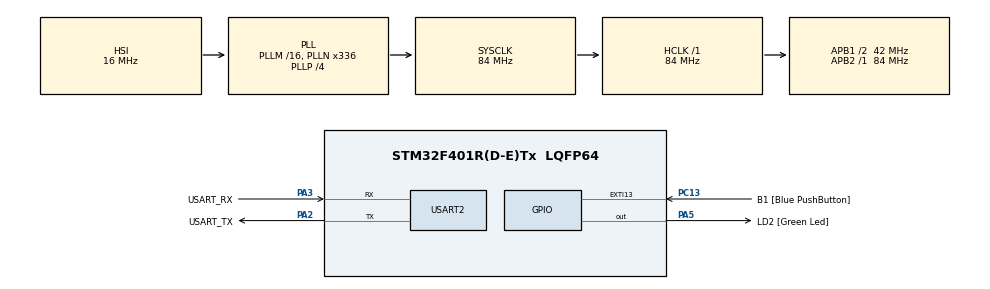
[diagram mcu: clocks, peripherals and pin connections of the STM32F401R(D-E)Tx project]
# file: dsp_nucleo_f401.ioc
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Mcu.Family=STM32F4
Mcu.Name=STM32F401R(D-E)Tx
Mcu.Package=LQFP64
NVIC.PriorityGroup=NVIC_PRIORITYGROUP_4
PA13.GPIO_Label=TMS
PA13.Mode=Trace_Asynchronous_SW
PA13.Signal=SYS_JTMS-SWDIO
PA14.GPIO_Label=TCK
PA14.Mode=Trace_Asynchronous_SW
PA14.Signal=SYS_JTCK-SWCLK
PA2.GPIO_Label=USART_TX
PA2.GPIO_Mode=GPIO_MODE_AF_PP
PA2.GPIO_PuPd=GPIO_NOPULL
PA2.GPIO_Speed=GPIO_SPEED_FREQ_LOW
PA2.Mode=Asynchronous
PA2.Signal=USART2_TX
PA3.GPIO_Label=USART_RX
PA3.GPIO_Mode=GPIO_MODE_AF_PP
PA3.GPIO_PuPd=GPIO_NOPULL
PA3.GPIO_Speed=GPIO_SPEED_FREQ_LOW
PA3.Mode=Asynchronous
PA3.Signal=USART2_RX
PA5.GPIO_Label=LD2 [Green Led]
PA5.GPIO_Mode=GPIO_MODE_OUTPUT_PP
PA5.GPIO_PuPd=GPIO_NOPULL
PA5.GPIO_Speed=GPIO_SPEED_FREQ_LOW
PA5.Signal=GPIO_Output
PB3.GPIO_Label=SWO
PB3.Mode=Trace_Asynchronous_SW
PB3.Signal=SYS_JTDO-SWO
PC13-ANTI_TAMP.GPIO_Label=B1 [Blue PushButton]
PC13-ANTI_TAMP.GPIO_ModeDefaultEXTI=GPIO_MODE_IT_FALLING
PC13-ANTI_TAMP.GPIO_PuPd=GPIO_NOPULL
PC13-ANTI_TAMP.Signal=GPXTI13
PC14-OSC32_IN.Mode=LSE-External-Oscillator
PC14-OSC32_IN.Signal=RCC_OSC32_IN
PC15-OSC32_OUT.Mode=LSE-External-Oscillator
PC15-OSC32_OUT.Signal=RCC_OSC32_OUT
PH0\ -\ OSC_IN.Mode=HSE-External-Clock-Source
PH0\ -\ OSC_IN.Signal=RCC_OSC_IN
PH1\ -\ OSC_OUT.Mode=HSE-External-Clock-Source
PH1\ -\ OSC_OUT.Signal=RCC_OSC_OUT
ProjectManager.HeapSize=0x200
ProjectManager.StackSize=0x400
ProjectManager.TargetToolchain=CMake
RCC.48MHZClocksFreq_Value=48000000
RCC.AHBFreq_Value=84000000
RCC.APB1CLKDivider=RCC_HCLK_DIV2
RCC.APB1Freq_Value=42000000
RCC.APB1TimFreq_Value=84000000
RCC.APB2Freq_Value=84000000
RCC.APB2TimFreq_Value=84000000
RCC.CortexFreq_Value=84000000
RCC.HCLKFreq_Value=84000000
RCC.HSE_VALUE=8000000
RCC.HSI_VALUE=16000000
RCC.PLLN=336
RCC.PLLP=RCC_PLLP_DIV4
RCC.PLLQ=7
RCC.SYSCLKFreq_VALUE=84000000
RCC.SYSCLKSource=RCC_SYSCLKSOURCE_PLLCLK
RCC.VCOOutputFreq_Value=336000000
USART2.VirtualMode=VM_ASYNC
board=NUCLEO-F401RE

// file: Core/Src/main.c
/* USER CODE BEGIN Header */
/**
  ******************************************************************************
  * @file           : main.c
  * @brief          : Main program body
  ******************************************************************************
  * @attention
  *
  * Copyright (c) 2025 STMicroelectronics.
  * All rights reserved.
  *
  * This software is licensed under terms that can be found in the LICENSE file
  * in the root directory of this software component.
  * If no LICENSE file comes with this software, it is provided AS-IS.
  *
  ******************************************************************************
  */
/* USER CODE END Header */
#include "main.h"

/* USER CODE BEGIN Includes */
#include <signals.h>
#include <stdint.h>
#include <stdio.h>
#include "arm_math.h"
/* USER CODE END Includes */

/* USER CODE BEGIN PTD */
extern float32_t _640_points_ecg_[];
extern float32_t  impulse_response[];
extern float32_t _5hz_signal[];
extern float32_t inputSignal_f32_1kHz_15kHz[];

float32_t output_convolution_arr[KHZ1_15_SIG_LEN + IMP_RESP_LENGTH -1];
float32_t output_running_sum[KHZ1_15_SIG_LEN];
float32_t output_first_difference[KHZ1_15_SIG_LEN];
/* USER CODE END PTD */

UART_HandleTypeDef huart2;

void SystemClock_Config(void);
static void MX_GPIO_Init(void);
static void MX_USART2_UART_Init(void);

/* USER CODE BEGIN 0 */
  float32_t ak=0,bk=0;
/* USER CODE END 0 */

int main(void)
{

  /* MCU Configuration--------------------------------------------------------*/

  /* Reset of all peripherals, Initializes the Flash interface and the Systick. */
  HAL_Init();

  /* Configure the system clock */
  SystemClock_Config();

  /* Initialize all configured peripherals */
  MX_GPIO_Init();
  MX_USART2_UART_Init();
  /* USER CODE BEGIN 2 */

  //enable FPU
  SCB->CPACR |= (3UL<< 10*2) | (3UL<<11*2); //set 23-20 bits of FPU coprocessor

  //MEAN, VARIANCE AND STANDARD DEVIATION
  // ak=signal_mean(inputSignal_f32_1kHz_15kHz,KHZ1_15_SIG_LEN);
  // ak=signal_variance(inputSignal_f32_1kHz_15kHz,ak,KHZ1_15_SIG_LEN);
  // ak=signal_standard_deviation(ak);
  // //ARM DSP library to find the standard deviation value. This is much faster than by calculating the it manually shown above
  // arm_std_f32(inputSignal_f32_1kHz_15kHz,KHZ1_15_SIG_LEN,&bk);

  //CONVOLUTION
  //the convoluted output is a signal where the resultant signal is a signal which filters the 15KHz components from the input signal and outputs only the 1KHz
  //the convolution along with  the impulse response filters the 15KHz from the input as it has a cutoff frequency of 6KHz
  //convolution((float32_t*) inputSignal_f32_1kHz_15kHz,(float32_t*) output_convolution_arr,(float32_t*) impulse_response, (uint32_t) KHZ1_15_SIG_LEN, (uint32_t) IMP_RESP_LENGTH);

  // float32_t time1=SysTick->VAL;
  // arm_conv_f32((float32_t*) inputSignal_f32_1kHz_15kHz,KHZ1_15_SIG_LEN,impulse_response,IMP_RESP_LENGTH,output_convolution_arr);
  //  float32_t time2 = (float32_t)(time1-SysTick->VAL)/((float32_t)SystemCoreClock/1000); //in milliseconds

  calc_running_sum(inputSignal_f32_1kHz_15kHz,output_running_sum , KHZ1_15_SIG_LEN);
  calc_first_difference(inputSignal_f32_1kHz_15kHz,output_first_difference , KHZ1_15_SIG_LEN);
  //plot_runningsum_firstdifference();
    /* USER CODE END 2 */

  /* Infinite loop */
  /* USER CODE BEGIN WHILE */
  while (1)
  {

    plot_runningsum_firstdifference();

   //plot_input_signal();

   // convolution_print_all_signals();

    /* USER CODE END WHILE */

  }
}

void SystemClock_Config(void)
{
  RCC_OscInitTypeDef RCC_OscInitStruct = {0};
  RCC_ClkInitTypeDef RCC_ClkInitStruct = {0};

  /** Configure the main internal regulator output voltage
  */
  __HAL_RCC_PWR_CLK_ENABLE();
  __HAL_PWR_VOLTAGESCALING_CONFIG(PWR_REGULATOR_VOLTAGE_SCALE2);

  /** Initializes the RCC Oscillators according to the specified parameters
  * in the RCC_OscInitTypeDef structure.
  */
  RCC_OscInitStruct.OscillatorType = RCC_OSCILLATORTYPE_HSI;
  RCC_OscInitStruct.HSIState = RCC_HSI_ON;
  RCC_OscInitStruct.HSICalibrationValue = RCC_HSICALIBRATION_DEFAULT;
  RCC_OscInitStruct.PLL.PLLState = RCC_PLL_ON;
  RCC_OscInitStruct.PLL.PLLSource = RCC_PLLSOURCE_HSI;
  RCC_OscInitStruct.PLL.PLLM = 16;
  RCC_OscInitStruct.PLL.PLLN = 336;
  RCC_OscInitStruct.PLL.PLLP = RCC_PLLP_DIV4;
  RCC_OscInitStruct.PLL.PLLQ = 7;
  if (HAL_RCC_OscConfig(&RCC_OscInitStruct) != HAL_OK)
  {
    Error_Handler();
  }

  /** Initializes the CPU, AHB and APB buses clocks
  */
  RCC_ClkInitStruct.ClockType = RCC_CLOCKTYPE_HCLK|RCC_CLOCKTYPE_SYSCLK
                              |RCC_CLOCKTYPE_PCLK1|RCC_CLOCKTYPE_PCLK2;
  RCC_ClkInitStruct.SYSCLKSource = RCC_SYSCLKSOURCE_PLLCLK;
  RCC_ClkInitStruct.AHBCLKDivider = RCC_SYSCLK_DIV1;
  RCC_ClkInitStruct.APB1CLKDivider = RCC_HCLK_DIV2;
  RCC_ClkInitStruct.APB2CLKDivider = RCC_HCLK_DIV1;

  if (HAL_RCC_ClockConfig(&RCC_ClkInitStruct, FLASH_LATENCY_2) != HAL_OK)
  {
    Error_Handler();
  }
}

static void MX_USART2_UART_Init(void)
{

  huart2.Instance = USART2;
  huart2.Init.BaudRate = 115200;
  huart2.Init.WordLength = UART_WORDLENGTH_8B;
  huart2.Init.StopBits = UART_STOPBITS_1;
  huart2.Init.Parity = UART_PARITY_NONE;
  huart2.Init.Mode = UART_MODE_TX_RX;
  huart2.Init.HwFlowCtl = UART_HWCONTROL_NONE;
  huart2.Init.OverSampling = UART_OVERSAMPLING_16;
  if (HAL_UART_Init(&huart2) != HAL_OK)
  {
    Error_Handler();
  }

}

static void MX_GPIO_Init(void)
{
  GPIO_InitTypeDef GPIO_InitStruct = {0};

  /* GPIO Ports Clock Enable */
  __HAL_RCC_GPIOC_CLK_ENABLE();
  __HAL_RCC_GPIOH_CLK_ENABLE();
  __HAL_RCC_GPIOA_CLK_ENABLE();
  __HAL_RCC_GPIOB_CLK_ENABLE();

  /*Configure GPIO pin Output Level */
  HAL_GPIO_WritePin(LD2_GPIO_Port, LD2_Pin, GPIO_PIN_RESET);

  /*Configure GPIO pin : B1_Pin */
  GPIO_InitStruct.Pin = B1_Pin;
  GPIO_InitStruct.Mode = GPIO_MODE_IT_FALLING;
  GPIO_InitStruct.Pull = GPIO_NOPULL;
  HAL_GPIO_Init(B1_GPIO_Port, &GPIO_InitStruct);

  /*Configure GPIO pin : LD2_Pin */
  GPIO_InitStruct.Pin = LD2_Pin;
  GPIO_InitStruct.Mode = GPIO_MODE_OUTPUT_PP;
  GPIO_InitStruct.Pull = GPIO_NOPULL;
  GPIO_InitStruct.Speed = GPIO_SPEED_FREQ_LOW;
  HAL_GPIO_Init(LD2_GPIO_Port, &GPIO_InitStruct);

}

/* USER CODE BEGIN 4 */
int __io_putchar(uint8_t ch)
{
  HAL_UART_Transmit(&huart2,&ch,1,0xFFFF);
  return ch;
}
/* USER CODE END 4 */

void Error_Handler(void)
{
  __disable_irq();
  while (1)
  {
  }
}
